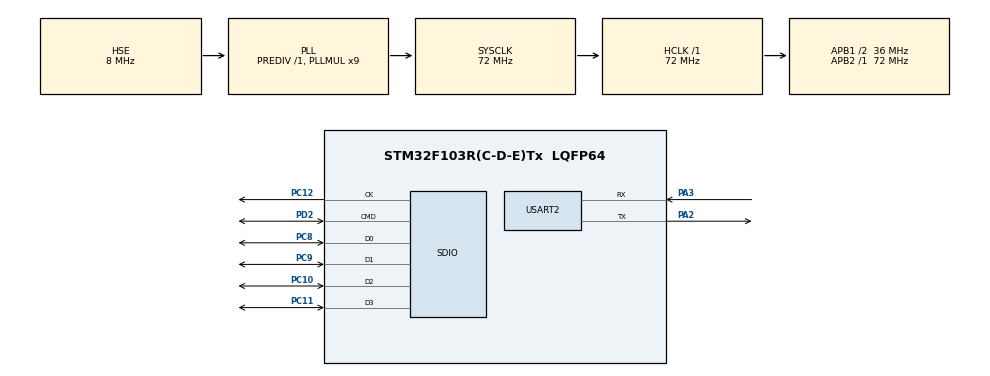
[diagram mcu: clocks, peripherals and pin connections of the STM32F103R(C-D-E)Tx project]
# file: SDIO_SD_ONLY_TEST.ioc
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Dma.Request0=SDIO
Dma.SDIO.0.Direction=DMA_PERIPH_TO_MEMORY
Dma.SDIO.0.Instance=DMA2_Channel4
Dma.SDIO.0.MemDataAlignment=DMA_MDATAALIGN_WORD
Dma.SDIO.0.MemInc=DMA_MINC_ENABLE
Dma.SDIO.0.Mode=DMA_NORMAL
Dma.SDIO.0.PeriphDataAlignment=DMA_PDATAALIGN_WORD
Dma.SDIO.0.PeriphInc=DMA_PINC_DISABLE
Dma.SDIO.0.Priority=DMA_PRIORITY_LOW
FATFS._CODE_PAGE=936
FATFS._FS_NORTC=1
FATFS._FS_RPATH=2
FATFS._MAX_SS=512
FATFS._USE_LFN=2
FATFS._VOLUMES=2
Mcu.Family=STM32F1
Mcu.Name=STM32F103R(C-D-E)Tx
Mcu.Package=LQFP64
NVIC.DMA2_Channel4_5_IRQn=true\:0\:0\:false\:false\:true
NVIC.PriorityGroup=NVIC_PRIORITYGROUP_4
NVIC.SDIO_IRQn=true\:0\:0\:false\:false\:true
PA13.Mode=Serial_Wire
PA13.Signal=SYS_JTMS-SWDIO
PA14.Mode=Serial_Wire
PA14.Signal=SYS_JTCK-SWCLK
PA2.Mode=Asynchronous
PA2.Signal=USART2_TX
PA3.Mode=Asynchronous
PA3.Signal=USART2_RX
PC10.Mode=SD_4_bits_Wide_bus
PC10.Signal=SDIO_D2
PC11.Mode=SD_4_bits_Wide_bus
PC11.Signal=SDIO_D3
PC12.Mode=SD_4_bits_Wide_bus
PC12.Signal=SDIO_CK
PC8.Mode=SD_4_bits_Wide_bus
PC8.Signal=SDIO_D0
PC9.Mode=SD_4_bits_Wide_bus
PC9.Signal=SDIO_D1
PD0-OSC_IN.Mode=HSE-External-Oscillator
PD0-OSC_IN.Signal=RCC_OSC_IN
PD1-OSC_OUT.Mode=HSE-External-Oscillator
PD1-OSC_OUT.Signal=RCC_OSC_OUT
PD2.Mode=SD_4_bits_Wide_bus
PD2.Signal=SDIO_CMD
ProjectManager.HeapSize=0x200
ProjectManager.StackSize=0x400
ProjectManager.TargetToolchain=MDK-ARM V5
RCC.AHBFreq_Value=72000000
RCC.APB1CLKDivider=RCC_HCLK_DIV2
RCC.APB1Freq_Value=36000000
RCC.APB1TimFreq_Value=72000000
RCC.APB2Freq_Value=72000000
RCC.APB2TimFreq_Value=72000000
RCC.HCLKFreq_Value=72000000
RCC.PLLMUL=RCC_PLL_MUL9
RCC.PLLSourceVirtual=RCC_PLLSOURCE_HSE
RCC.SYSCLKFreq_VALUE=72000000
RCC.SYSCLKSource=RCC_SYSCLKSOURCE_PLLCLK
RCC.USBFreq_Value=72000000
SDIO.ClockDiv=2
USART2.VirtualMode=VM_ASYNC
VP_FATFS_VS_Generic.Mode=User_defined
VP_FATFS_VS_SDIO.Mode=SDIO
board=SDIO_SD_ONLY_TEST

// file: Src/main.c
/**
  ******************************************************************************
  * File Name          : main.c
  * Description        : Main program body
  ******************************************************************************
  * This notice applies to any and all portions of this file
  * that are not between comment pairs USER CODE BEGIN and
  * USER CODE END. Other portions of this file, whether
  * inserted by the user or by software development tools
  * are owned by their respective copyright owners.
  *
  * Copyright (c) 2017 STMicroelectronics International N.V.
  * All rights reserved.
  *
  * Redistribution and use in source and binary forms, with or without
  * modification, are permitted, provided that the following conditions are met:
  *
  * 1. Redistribution of source code must retain the above copyright notice,
  *    this list of conditions and the following disclaimer.
  * 2. Redistributions in binary form must reproduce the above copyright notice,
  *    this list of conditions and the following disclaimer in the documentation
  *    and/or other materials provided with the distribution.
  * 3. Neither the name of STMicroelectronics nor the names of other
  *    contributors to this software may be used to endorse or promote products
  *    derived from this software without specific written permission.
  * 4. This software, including modifications and/or derivative works of this
  *    software, must execute solely and exclusively on microcontroller or
  *    microprocessor devices manufactured by or for STMicroelectronics.
  * 5. Redistribution and use of this software other than as permitted under
  *    this license is void and will automatically terminate your rights under
  *    this license.
  *
  * THIS SOFTWARE IS PROVIDED BY STMICROELECTRONICS AND CONTRIBUTORS "AS IS"
  * AND ANY EXPRESS, IMPLIED OR STATUTORY WARRANTIES, INCLUDING, BUT NOT
  * LIMITED TO, THE IMPLIED WARRANTIES OF MERCHANTABILITY, FITNESS FOR A
  * PARTICULAR PURPOSE AND NON-INFRINGEMENT OF THIRD PARTY INTELLECTUAL PROPERTY
  * RIGHTS ARE DISCLAIMED TO THE FULLEST EXTENT PERMITTED BY LAW. IN NO EVENT
  * SHALL STMICROELECTRONICS OR CONTRIBUTORS BE LIABLE FOR ANY DIRECT, INDIRECT,
  * INCIDENTAL, SPECIAL, EXEMPLARY, OR CONSEQUENTIAL DAMAGES (INCLUDING, BUT NOT
  * LIMITED TO, PROCUREMENT OF SUBSTITUTE GOODS OR SERVICES; LOSS OF USE, DATA,
  * OR PROFITS; OR BUSINESS INTERRUPTION) HOWEVER CAUSED AND ON ANY THEORY OF
  * LIABILITY, WHETHER IN CONTRACT, STRICT LIABILITY, OR TORT (INCLUDING
  * NEGLIGENCE OR OTHERWISE) ARISING IN ANY WAY OUT OF THE USE OF THIS SOFTWARE,
  * EVEN IF ADVISED OF THE POSSIBILITY OF SUCH DAMAGE.
  *
  ******************************************************************************
  */
#include "main.h"
#include "stm32f1xx_hal.h"
#include "dma.h"
#include "fatfs.h"
#include "sdio.h"
#include "usart.h"
#include "gpio.h"

/* USER CODE BEGIN Includes */

#include "ff.h"

/* USER CODE END Includes */

/* USER CODE BEGIN PV */
/* Private variables ---------------------------------------------------------*/

char SDPath[4];                   /* SD卡逻辑设备路径 */
FATFS fs;													/* FatFs文件系统对象 */
FIL file;													/* 文件对象 */
FRESULT f_res;                    /* 文件操作结果 */
UINT fnum;            					  /* 文件成功读写数量 */
BYTE ReadBuffer[1024]={0};        /* 读缓冲区 */
BYTE WriteBuffer[]= "欢迎使用硬石STM32开发板 今天是个好日子，新建文件系统测试文件\n";/* 写缓冲区*/

/* USER CODE END PV */

void SystemClock_Config(void);

/* USER CODE BEGIN PFP */
/* Private function prototypes -----------------------------------------------*/

/* USER CODE END PFP */

/* USER CODE BEGIN 0 */
static void printf_fatfs_error(FRESULT fresult);
/* USER CODE END 0 */

int main(void)
{

  /* MCU Configuration----------------------------------------------------------*/

  /* Reset of all peripherals, Initializes the Flash interface and the Systick. */
  HAL_Init();

  /* Configure the system clock */
  SystemClock_Config();

  /* Initialize all configured peripherals */
  MX_GPIO_Init();
  MX_DMA_Init();
  MX_SDIO_SD_Init();
  MX_USART2_UART_Init();
  MX_FATFS_Init();

  /* USER CODE BEGIN 2 */

 printf("****** 这是一个基于SD卡的FatFS文件系统实验 ******\n");

  /* 注册一个FatFS设备：SD卡 */
  if(FATFS_LinkDriver(&SD_Driver, SDPath) == 0)
  {
    //在SD卡挂载文件系统，文件系统挂载时会对SD卡初始化
    f_res = f_mount(&fs,(TCHAR const*)SDPath,1);
    printf_fatfs_error(f_res);
    /*----------------------- 格式化测试 ---------------------------*/
    /* 如果没有文件系统就格式化创建创建文件系统 */
    if(f_res == FR_NO_FILESYSTEM)
    {
      printf("》SD卡还没有文件系统，即将进行格式化...\n");
      /* 格式化 */
      f_res=f_mkfs((TCHAR const*)SDPath,0,0);

      if(f_res == FR_OK)
      {
        printf("》SD卡已成功格式化文件系统。\n");
        /* 格式化后，先取消挂载 */
        f_res = f_mount(NULL,(TCHAR const*)SDPath,1);
        /* 重新挂载	*/
        f_res = f_mount(&fs,(TCHAR const*)SDPath,1);
      }
      else
      {
        printf("《《格式化失败。》》\n");
        while(1);
      }
    }
    else if(f_res!=FR_OK)
    {
      printf("！！SD卡挂载文件系统失败。(%d)\n",f_res);
      printf_fatfs_error(f_res);
      while(1);
    }
    else
    {
      printf("》文件系统挂载成功，可以进行读写测试\n");
    }

    /*----------------------- 文件系统测试：写测试 -----------------------------*/
    /* 打开文件，如果文件不存在则创建它 */
    printf("****** 即将进行文件写入测试... ******\n");
    f_res = f_open(&file, "FatFs读写测试文件.txt",FA_CREATE_ALWAYS | FA_WRITE );
    if ( f_res == FR_OK )
    {
      printf("》打开/创建FatFs读写测试文件.txt文件成功，向文件写入数据。\n");
      /* 将指定存储区内容写入到文件内 */
      f_res=f_write(&file,WriteBuffer,sizeof(WriteBuffer),&fnum);
      if(f_res==FR_OK)
      {
        printf("》文件写入成功，写入字节数据：%d\n",fnum);
        printf("》向文件写入的数据为：\n%s\n",WriteBuffer);
      }
      else
      {
        printf("！！文件写入失败：(%d)\n",f_res);
      }
      /* 不再读写，关闭文件 */
      f_close(&file);
    }
    else
    {
      printf("！！打开/创建文件失败。\n");
    }

    /*------------------- 文件系统测试：读测试 ------------------------------------*/
    printf("****** 即将进行文件读取测试... ******\n");
    f_res = f_open(&file, "FatFs读写测试文件.txt", FA_OPEN_EXISTING | FA_READ);
    if(f_res == FR_OK)
    {
      printf("》打开文件成功。\n");
      f_res = f_read(&file, ReadBuffer, sizeof(ReadBuffer), &fnum);
      if(f_res==FR_OK)
      {
        printf("》文件读取成功,读到字节数据：%d\n",fnum);
        printf("》读取得的文件数据为：\n%s \n", ReadBuffer);
      }
      else
      {
        printf("！！文件读取失败：(%d)\n",f_res);
      }
    }
    else
    {
      printf("！！打开文件失败。\n");
    }
    /* 不再读写，关闭文件 */
    f_close(&file);

    /* 不再使用，取消挂载 */
    f_res = f_mount(NULL,(TCHAR const*)SDPath,1);
  }

  /* 注销一个FatFS设备：SD卡 */
  FATFS_UnLinkDriver(SDPath);

  /* USER CODE END 2 */

  /* Infinite loop */
  while (1)
  {

  }

}

/** System Clock Configuration
*/
void SystemClock_Config(void)
{

  RCC_OscInitTypeDef RCC_OscInitStruct;
  RCC_ClkInitTypeDef RCC_ClkInitStruct;

    /**Initializes the CPU, AHB and APB busses clocks
    */
  RCC_OscInitStruct.OscillatorType = RCC_OSCILLATORTYPE_HSE;
  RCC_OscInitStruct.HSEState = RCC_HSE_ON;
  RCC_OscInitStruct.HSEPredivValue = RCC_HSE_PREDIV_DIV1;
  RCC_OscInitStruct.HSIState = RCC_HSI_ON;
  RCC_OscInitStruct.PLL.PLLState = RCC_PLL_ON;
  RCC_OscInitStruct.PLL.PLLSource = RCC_PLLSOURCE_HSE;
  RCC_OscInitStruct.PLL.PLLMUL = RCC_PLL_MUL9;
  if (HAL_RCC_OscConfig(&RCC_OscInitStruct) != HAL_OK)
  {
    _Error_Handler(__FILE__, __LINE__);
  }

    /**Initializes the CPU, AHB and APB busses clocks
    */
  RCC_ClkInitStruct.ClockType = RCC_CLOCKTYPE_HCLK|RCC_CLOCKTYPE_SYSCLK
                              |RCC_CLOCKTYPE_PCLK1|RCC_CLOCKTYPE_PCLK2;
  RCC_ClkInitStruct.SYSCLKSource = RCC_SYSCLKSOURCE_PLLCLK;
  RCC_ClkInitStruct.AHBCLKDivider = RCC_SYSCLK_DIV1;
  RCC_ClkInitStruct.APB1CLKDivider = RCC_HCLK_DIV2;
  RCC_ClkInitStruct.APB2CLKDivider = RCC_HCLK_DIV1;

  if (HAL_RCC_ClockConfig(&RCC_ClkInitStruct, FLASH_LATENCY_2) != HAL_OK)
  {
    _Error_Handler(__FILE__, __LINE__);
  }

    /**Configure the Systick interrupt time
    */
  HAL_SYSTICK_Config(HAL_RCC_GetHCLKFreq()/1000);

    /**Configure the Systick
    */
  HAL_SYSTICK_CLKSourceConfig(SYSTICK_CLKSOURCE_HCLK);

  /* SysTick_IRQn interrupt configuration */
  HAL_NVIC_SetPriority(SysTick_IRQn, 0, 0);
}

/* USER CODE BEGIN 4 */

/**
  * 函数功能: FatFS文件系统操作结果信息处理.
  * 输入参数: FatFS文件系统操作结果：FRESULT
  * 返 回 值: 无
  * 说    明: 无
  */
static void printf_fatfs_error(FRESULT fresult)
{
  switch(fresult)
  {
    case FR_OK:                   //(0)
      printf("》操作成功。\n");
    break;
    case FR_DISK_ERR:             //(1)
      printf("！！硬件输入输出驱动出错。\n");
    break;
    case FR_INT_ERR:              //(2)
      printf("！！断言错误。\n");
    break;
    case FR_NOT_READY:            //(3)
      printf("！！物理设备无法工作。\n");
    break;
    case FR_NO_FILE:              //(4)
      printf("！！无法找到文件。\n");
    break;
    case FR_NO_PATH:              //(5)
      printf("！！无法找到路径。\n");
    break;
    case FR_INVALID_NAME:         //(6)
      printf("！！无效的路径名。\n");
    break;
    case FR_DENIED:               //(7)
    case FR_EXIST:                //(8)
      printf("！！拒绝访问。\n");
    break;
    case FR_INVALID_OBJECT:       //(9)
      printf("！！无效的文件或路径。\n");
    break;
    case FR_WRITE_PROTECTED:      //(10)
      printf("！！逻辑设备写保护。\n");
    break;
    case FR_INVALID_DRIVE:        //(11)
      printf("！！无效的逻辑设备。\n");
    break;
    case FR_NOT_ENABLED:          //(12)
      printf("！！无效的工作区。\n");
    break;
    case FR_NO_FILESYSTEM:        //(13)
      printf("！！无效的文件系统。\n");
    break;
    case FR_MKFS_ABORTED:         //(14)
      printf("！！因函数参数问题导致f_mkfs函数操作失败。\n");
    break;
    case FR_TIMEOUT:              //(15)
      printf("！！操作超时。\n");
    break;
    case FR_LOCKED:               //(16)
      printf("！！文件被保护。\n");
    break;
    case FR_NOT_ENOUGH_CORE:      //(17)
      printf("！！长文件名支持获取堆空间失败。\n");
    break;
    case FR_TOO_MANY_OPEN_FILES:  //(18)
      printf("！！打开太多文件。\n");
    break;
    case FR_INVALID_PARAMETER:    // (19)
      printf("！！参数无效。\n");
    break;
  }
}

/* USER CODE END 4 */

void _Error_Handler(char * file, int line)
{
  while(1)
  {
  }
}

/************************ (C) COPYRIGHT STMicroelectronics *****END OF FILE****/
